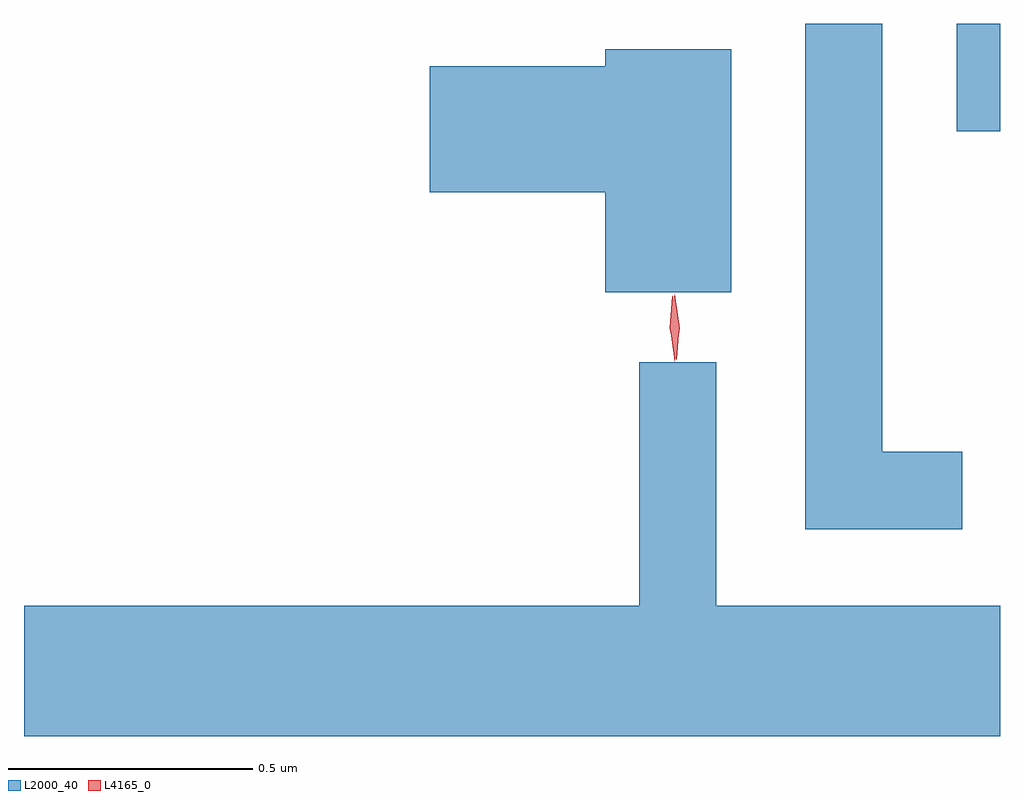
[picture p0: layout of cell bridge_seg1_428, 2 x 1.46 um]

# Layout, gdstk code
import gdstk
lib = gdstk.Library(unit=1e-6, precision=1e-09)
def R(c, l, rs):  # rectangles x0, y0, x1, y1
    for r in rs: c.add(gdstk.rectangle(r[:2], r[2:], *l))
def P(c, l, *ps):  # polygons
    for p in ps: c.add(gdstk.Polygon(p, *l))
L2000_40 = (2000, 40)
L4165_0 = (4165, 0)

bridge_seg1_428 = lib.new_cell('bridge_seg1_428')
R(bridge_seg1_428, L2000_40, [(330.706,938.556,330.795,938.777)])
P(bridge_seg1_428, L2000_40, [(330.718,937.899),(330.554,937.899),(330.554,938.777),(330.396,938.777),(330.396,937.741),(330.718,937.741)],
  [(330.244,938.724),(329.986,938.724),(329.986,938.689),(329.626,938.689),(329.626,938.431),(329.986,938.431),(329.986,938.226),(330.244,938.226)],
  [(330.795,937.584),(330.214,937.584),(330.214,938.083),(330.056,938.083),(330.056,937.584),(328.795,937.584),(328.795,937.316),(330.795,937.316)])
P(bridge_seg1_428, L4165_0, [(330.133,938.088),(330.132,938.089),(330.118,938.153),(330.123,938.218),(330.123,938.219),(330.124,938.218),(330.138,938.154),(330.133,938.089)],
  [(330.128,938.085),(330.119,938.153),(330.128,938.222),(330.129,938.222),(330.129,938.222),(330.139,938.153),(330.129,938.085),(330.129,938.085)])

lib.write_gds('bridge_seg1_428.gds')
